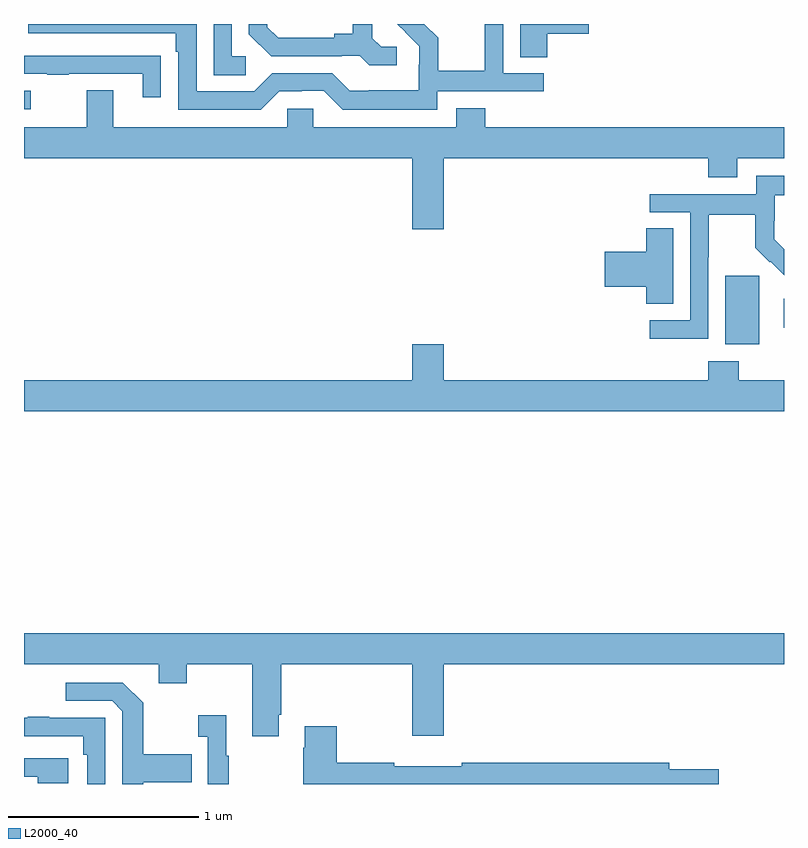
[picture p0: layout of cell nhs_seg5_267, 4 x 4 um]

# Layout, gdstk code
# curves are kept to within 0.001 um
import gdstk
lib = gdstk.Library(unit=1e-6, precision=1e-09)
def R(c, l, rs):  # rectangles x0, y0, x1, y1
    for r in rs: c.add(gdstk.rectangle(r[:2], r[2:], *l))
def P(c, l, *ps):  # polygons
    for p in ps: c.add(gdstk.Polygon(p, *l))
L2000_40 = (2000, 40)

nhs_seg5_267 = lib.new_cell('nhs_seg5_267')
R(nhs_seg5_267, L2000_40, [(130.691,857.114,130.87,857.475), (130.998,857.2,131,857.354), (127,858.351,127.036,858.447)])
P(nhs_seg5_267, L2000_40, [(129.755,858.749),(129.973,858.749),(129.973,858.799),(129.611,858.799),(129.611,858.625),(129.755,858.625)],
  [(129.174,858.444),(129.736,858.444),(129.736,858.54),(129.522,858.54),(129.522,858.799),(129.426,858.799),(129.426,858.776),(129.424,858.776),(129.424,858.553),(129.179,858.553),(129.179,858.727),(129.107,858.799),(128.965,858.799),(129.08,858.682),(129.08,858.585),(129.078,858.585),(129.078,858.451),(128.815,858.451),(128.815,858.447),(128.715,858.447),(128.622,858.54),(128.307,858.54),(128.211,858.444),(127.908,858.444),(127.908,858.799),(127.023,858.799),(127.023,858.75),(127.799,858.75),(127.799,858.653),(127.812,858.653),(127.812,858.348),(128.247,858.348),(128.343,858.444),(128.462,858.444),(128.462,858.447),(128.577,858.447),(128.677,858.347),(129.174,858.347)],
  [(128.167,858.63),(128.094,858.63),(128.094,858.799),(127.998,858.799),(127.998,858.529),(128.167,858.529)],
  [(128.962,858.678),(128.88,858.678),(128.833,858.725),(128.833,858.799),(128.729,858.799),(128.729,858.749),(128.633,858.749),(128.633,858.726),(128.338,858.726),(128.281,858.783),(128.281,858.799),(128.184,858.799),(128.184,858.746),(128.3,858.63),(128.672,858.63),(128.672,858.633),(128.766,858.633),(128.818,858.581),(128.962,858.581)],
  [(127.721,858.632),(127.619,858.632),(127.619,858.633),(127,858.633),(127,858.537),(127.123,858.537),(127.123,858.532),(127.235,858.532),(127.235,858.537),(127.625,858.537),(127.625,858.414),(127.721,858.414)],
  [(129.208,858.092),(130.601,858.092),(130.601,857.993),(130.753,857.993),(130.753,858.092),(131,858.092),(131,858.256),(129.428,858.256),(129.428,858.355),(129.275,858.355),(129.275,858.256),(128.523,858.256),(128.523,858.354),(128.385,858.354),(128.385,858.256),(127.471,858.256),(127.471,858.451),(127.331,858.451),(127.331,858.256),(127,858.256),(127,858.092),(129.044,858.092),(129.044,857.718),(129.208,857.718)],
  [(130.602,857.572),(130.605,857.572),(130.605,857.796),(130.849,857.796),(130.849,857.621),(130.926,857.544),(130.929,857.547),(131,857.477),(131,857.614),(130.948,857.666),(130.948,857.763),(130.95,857.763),(130.95,857.897),(131,857.897),(131,858.001),(130.854,858.001),(130.854,857.904),(130.293,857.904),(130.293,857.808),(130.506,857.808),(130.506,857.241),(130.293,857.241),(130.293,857.143),(130.602,857.143)],
  [(130.417,857.723),(130.274,857.723),(130.274,857.6),(130.056,857.6),(130.056,857.417),(130.274,857.417),(130.274,857.326),(130.417,857.326)],
  [(131,856.924),(130.761,856.924),(130.761,857.023),(130.601,857.023),(130.601,856.924),(129.208,856.924),(129.208,857.113),(129.044,857.113),(129.044,856.924),(127,856.924),(127,856.76),(131,856.76)],
  [(128.341,855.163),(128.354,855.163),(128.354,855.428),(129.044,855.428),(129.044,855.054),(129.208,855.054),(129.208,855.428),(131,855.428),(131,855.592),(127,855.592),(127,855.428),(127.709,855.428),(127.709,855.329),(127.857,855.329),(127.857,855.428),(128.201,855.428),(128.201,855.051),(128.341,855.051)],
  [(127.627,854.807),(127.883,854.807),(127.883,854.955),(127.627,854.955),(127.627,855.227),(127.521,855.333),(127.221,855.333),(127.221,855.237),(127.464,855.237),(127.518,855.183),(127.518,854.799),(127.627,854.799)],
  [(128.077,854.947),(128.065,854.947),(128.065,855.16),(127.917,855.16),(127.917,855.047),(127.968,855.047),(127.968,854.799),(128.077,854.799)],
  [(127.428,855.147),(127.133,855.147),(127.133,855.152),(127.021,855.152),(127.021,855.147),(127,855.147),(127,855.051),(127.312,855.051),(127.312,854.954),(127.332,854.954),(127.332,854.799),(127.428,854.799)],
  [(130.657,854.876),(130.396,854.876),(130.396,854.912),(129.304,854.912),(129.304,854.893),(128.948,854.893),(128.948,854.912),(128.645,854.912),(128.645,855.103),(128.477,855.103),(128.477,854.99),(128.47,854.99),(128.47,854.799),(130.657,854.799)],
  [(127.234,854.934),(127,854.934),(127,854.838),(127.073,854.838),(127.073,854.804),(127.234,854.804)])

lib.write_gds('nhs_seg5_267.gds')
